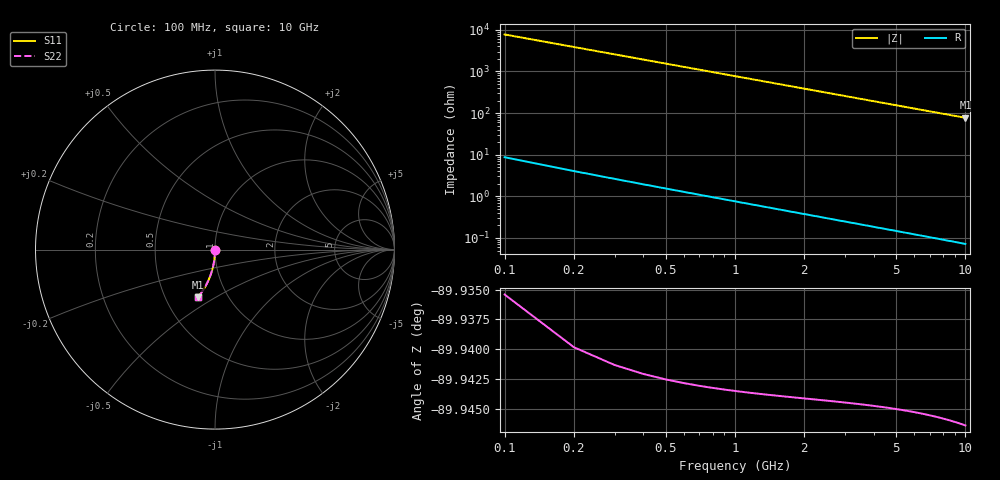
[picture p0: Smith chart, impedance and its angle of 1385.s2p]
# Hz S RI R 50.00
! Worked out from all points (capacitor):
!   100 points, 100 MHz to 10 GHz, reference 50 ohm
!   read as one part in shunt: C = 207 fF near 100 MHz
!   lowest |Z| = 77 ohm at 10 GHz (marker M1)
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1e8  0.000123 -0.00296  0.9998 -0.00353  0.9998 -0.00353  0.000123 -0.00296
2e8  8.97e-05 -0.00591  0.9998 -0.00707  0.9998 -0.00707  8.97e-05 -0.00591
3e8  3.5e-05 -0.00887  0.9998 -0.0106  0.9998 -0.0106  3.5e-05 -0.00887
4e8  -4.06e-05 -0.0118  0.9997 -0.0141  0.9997 -0.0141  -4.06e-05 -0.0118
5e8  -0.000137 -0.0148  0.9996 -0.0177  0.9996 -0.0177  -0.000137 -0.0148
6e8  -0.000255 -0.0177  0.9995 -0.0212  0.9995 -0.0212  -0.000255 -0.0177
7e8  -0.000393 -0.0207  0.9993 -0.0247  0.9993 -0.0247  -0.000393 -0.0207
8e8  -0.000553 -0.0236  0.9992 -0.0283  0.9992 -0.0283  -0.000553 -0.0236
9e8  -0.000733 -0.0266  0.999 -0.0318  0.999 -0.0318  -0.000733 -0.0266
1.1e9  -0.00116 -0.0325  0.9985 -0.0388  0.9985 -0.0388  -0.00116 -0.0325
1.4e9  -0.00195 -0.0413  0.9977 -0.0494  0.9977 -0.0494  -0.00195 -0.0413
1.8e9  -0.00329 -0.053  0.9964 -0.0634  0.9964 -0.0634  -0.00329 -0.053
2.1e9  -0.00451 -0.0618  0.9951 -0.0739  0.9951 -0.0739  -0.00451 -0.0618
2.5e9  -0.00643 -0.0734  0.9932 -0.0879  0.9932 -0.0879  -0.00643 -0.0734
2.9e9  -0.00867 -0.085  0.9909 -0.1018  0.9909 -0.1018  -0.00867 -0.085
3.4e9  -0.0119 -0.0993  0.9876 -0.119  0.9876 -0.119  -0.0119 -0.0993
4.2e9  -0.0182 -0.1219  0.9813 -0.1463  0.9813 -0.1463  -0.0182 -0.1219
5.1e9  -0.0266 -0.1467  0.9726 -0.1763  0.9726 -0.1763  -0.0266 -0.1467
5.9e9  -0.0354 -0.1682  0.9637 -0.2025  0.9637 -0.2025  -0.0354 -0.1682
6.7e9  -0.0452 -0.189  0.9537 -0.2279  0.9537 -0.2279  -0.0452 -0.189
8.4e9  -0.0696 -0.2307  0.9289 -0.2796  0.9289 -0.2796  -0.0696 -0.2307
1e10  -0.0961 -0.2665  0.9018 -0.3249  0.9018 -0.3249  -0.0961 -0.2665
